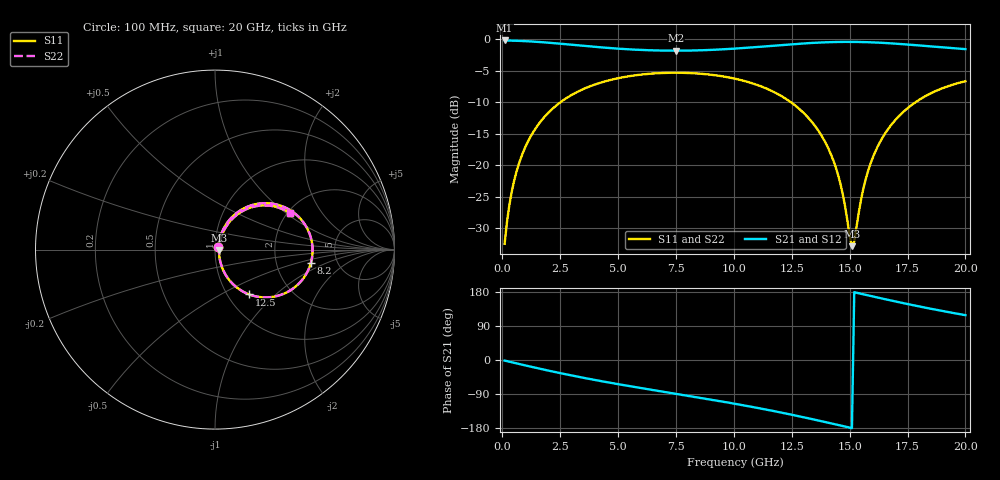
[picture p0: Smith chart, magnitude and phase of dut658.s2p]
! Touchstone file exported from HFSS 2026.1.0
!  File:  C:/ffzhzh/LocalFiles/Ansys_Project_Files/temp_train_TSV_RDL_658_1783130391_53076.aedt
!  Generated:  10:12:53 AM Jul  4, 2026
!  Design:  TSV_RDL
!  Project:  temp_train_TSV_RDL_658_1783130391_53076
! Variables:
!  h_bsmrdl = 4.18um
!  h_ox = 20um
!  h_rdl = 5um
!  h_sub = 76.92um
!  h_tmrdl = 5.74um
!  h_tsv = 76.92um
!  h_via = 3um
!  l_bsmrdl = 163.64um
!  l_sub = 4042.71um
!  l_tmrdl = 747.05um
!  m_sub = 200um
!  pitch = 54.97um
!  r_tsv = 2.53um
!  s_tmrdl = 10um
!  w_bsmrdl = 28.99um
!  w_sub = 500um
!  w_tmrdl = 25.54um
!  x_tsv_center1 = 759.82um
!  x_tsv_center2 = 952.45um
!  x_tsv_center3 = 1725.04um
!  x_tsv_center4 = 1917.67um
!  x_tsv_center5 = 2690.26um
!  x_tsv_center6 = 2882.89um
# GHz S MA R 50.000000
! Terminal data exported
! Port[1] = TM_RDL1_1_T1
! Port[2] = TM_RDL5_1_T1
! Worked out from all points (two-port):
!   200 points, 100 MHz to 20 GHz, reference 50 ohm
!   highest |S21| = -0.16 dB at 100 MHz (marker M1); lowest = -1.8 dB at 7.5 GHz (marker M2)
!   |S21| within 3 dB of the highest: start of sweep to end of sweep
!   lowest |S11| = -32.9 dB at 15.1 GHz (marker M3), VSWR 1.05, Z = 52.3 - j0.355 ohm
!   |S11| at or under -10 dB: start of sweep to 2.506 GHz; 12.47 GHz to 17.84 GHz (5.367 GHz wide, 35.4 % of centre)
!   |S22| runs from -32.8 to -5.3 dB; largest |S21 - S12| = 1.7e-14
!   S11 on the Smith chart (normalised r, x): 100 MHz: 1.04, +0.03; 8.2 GHz: 3.19, -0.66; 12.5 GHz: 1.25, -0.69; 20 GHz: 2.08, +1.07
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0.1  0.02377 37.7  0.9815 -1.5  0.9815 -1.5  0.02377 37.7
! Gamma 0 0 0 0
! Port Impedance 50 0 50 0
0.3  0.04759 61.3  0.9795 -4.4  0.9795 -4.4  0.04759 61.3
0.5  0.07382 66.9  0.9774 -7.3  0.9774 -7.3  0.07382 66.9
1.1  0.1533 66.2  0.9672 -15.8  0.9672 -15.8  0.1533 66.2
2.1  0.2737 55.7  0.9387 -29.4  0.9387 -29.4  0.2737 55.7
3.5  0.4034 39.6  0.8898 -46.9  0.8898 -46.9  0.4034 39.6
6.8  0.54 5.7  0.8163 -82.3  0.8163 -82.3  0.54 5.7
7.5  0.5438 -1.0  0.8139 -89.3  0.8139 -89.3  0.5438 -1.0
8.2  0.5395 -7.8  0.8165 -96.3  0.8165 -96.3  0.5395 -7.8
10.1  0.4853 -26.7  0.8468 -116.1  0.8468 -116.1  0.4853 -26.7
12.5  0.3135 -52.8  0.9155 -144.4  0.9155 -144.4  0.3135 -52.8
13.4  0.2175 -62.5  0.9386 -156.3  0.9386 -156.3  0.2175 -62.5
14  0.1459 -67.5  0.9496 -164.4  0.9496 -164.4  0.146 -67.5
14.4  0.09635 -68.3  0.9542 -170.0  0.9542 -170.0  0.09638 -68.2
14.7  0.05941 -63.6  0.956 -174.2  0.956 -174.2  0.05946 -63.5
15.1  0.02275 -8.6  0.9562 -179.8  0.9562 -179.8  0.02287 -8.5
15.2  0.02477 21.5  0.9559 178.8  0.9559 178.8  0.02488 21.4
15.5  0.05407 58.5  0.9539 174.6  0.9539 174.6  0.05413 58.3
15.8  0.09043 64.6  0.9505 170.4  0.9505 170.4  0.09047 64.5
16.7  0.1982 60.6  0.933 158.2  0.933 158.2  0.1983 60.5
18.1  0.3396 45.8  0.8924 140.2  0.8924 140.2  0.3397 45.8
20  0.4655 25.6  0.8374 118.3  0.8374 118.3  0.4655 25.6
